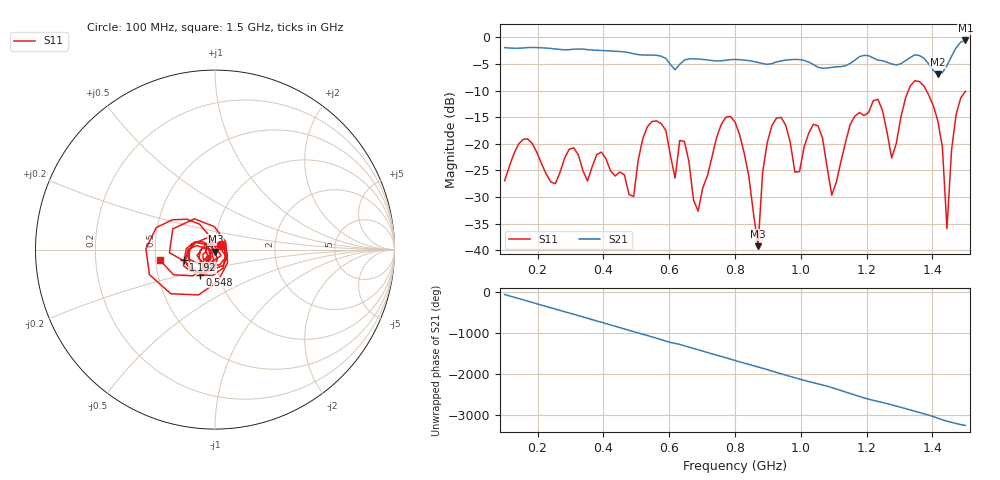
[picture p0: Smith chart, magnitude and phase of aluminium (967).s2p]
! NanoVNA-App
! Date: 2025-09-25 15:02:48
! Start: 100MHz Stop: 1,5GHz Points: 101
! S-Parameter data: F S11 S21 S12 S22
# Hz S RI R 50
!  Frequency  S11_Real  S11_Imag  S21_Real  S21_Imag  S12_Real  S12_Imag  S22_Real  S22_Imag
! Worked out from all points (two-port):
!   101 points, 100 MHz to 1.5 GHz, reference 50 ohm
!   highest |S21| = -0.58 dB at 1.5 GHz (marker M1); lowest = -6.9 dB at 1.416 GHz (marker M2)
!   |S21| within 3 dB of the highest: start of sweep to 577.3 MHz; 1.458 GHz to end of sweep (the widest 2 of 4)
!   lowest |S11| = -39.2 dB at 870 MHz (marker M3), VSWR 1.02, Z = 50.2 - j1.08 ohm
!   |S11| at or under -10 dB: start of sweep to 1.327 GHz; 1.382 GHz to end of sweep
!   S12 and S22 are empty: the file has one direction only
!   S11 on the Smith chart (normalised r, x): 100 MHz: 1.07, +0.06; 548 MHz: 0.82, -0.23; 1.192 GHz: 0.70, -0.08; 1.5 GHz: 0.53, -0.07
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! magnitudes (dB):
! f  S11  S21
! 100 MHz  -27.0  -1.9
! 156 MHz  -19.2  -2.0
! 338 MHz  -25.1  -2.2
! 492 MHz  -29.9  -3.1
! 548 MHz  -15.8  -3.3
! 576 MHz  -16.2  -3.5
! 646 MHz  -19.6  -4.3
! 688 MHz  -32.7  -4.1
! 800 MHz  -15.9  -4.1
! 870 MHz  -39.2  -4.7
! 912 MHz  -16.6  -4.9
! 982 MHz  -25.3  -4.1
! 1.038 GHz  -16.3  -5.1
! 1.094 GHz  -29.7  -5.6
! 1.192 GHz  -14.7  -3.4
! 1.234 GHz  -11.6  -4.3
! 1.276 GHz  -22.7  -5.0
! 1.346 GHz  -8.2  -3.3
! 1.416 GHz  -15.6  -6.9
! 1.444 GHz  -35.9  -5.3
! 1.472 GHz  -14.4  -1.9
! 1.5 GHz  -10.1  -0.6
